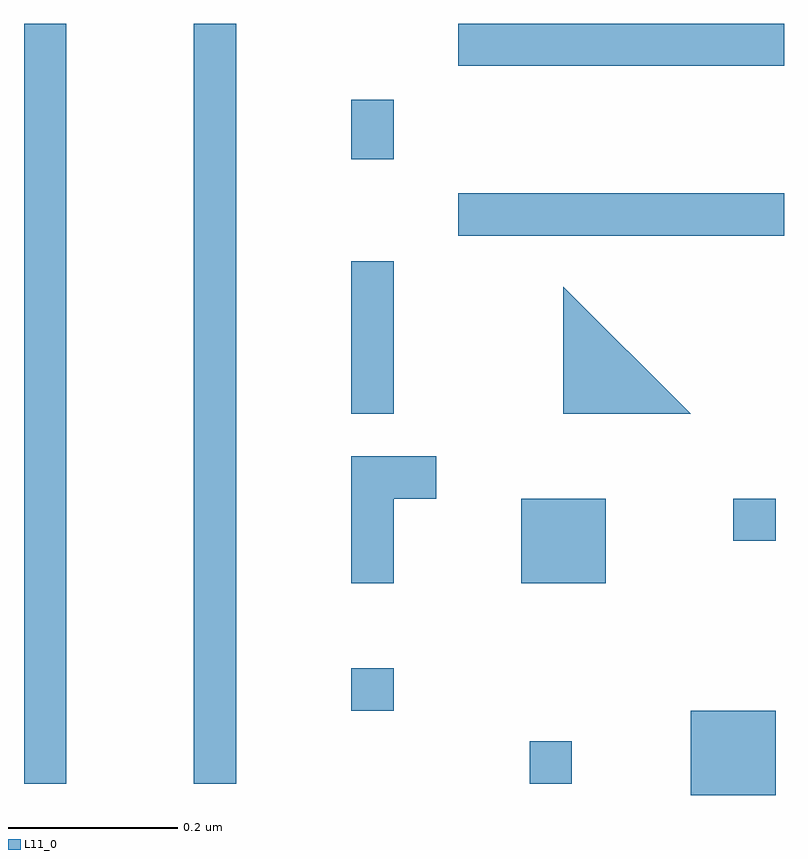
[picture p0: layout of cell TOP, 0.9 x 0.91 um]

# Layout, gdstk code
import gdstk
lib = gdstk.Library(unit=1e-6, precision=1e-09)
def R(c, l, rs):  # rectangles x0, y0, x1, y1
    for r in rs: c.add(gdstk.rectangle(r[:2], r[2:], *l))
def P(c, l, *ps):  # polygons
    for p in ps: c.add(gdstk.Polygon(p, *l))
L11_0 = (11, 0)

top = lib.new_cell('TOP')
R(top, L11_0, [(0.85,0.05,0.95,0.15), (0.85,0.05,0.95,0.15), (0.064,0.064,0.114,0.96), (0.264,0.064,0.314,0.96), (0.66,0.064,0.71,0.114), (0.45,0.15,0.5,0.2), (0.65,0.3,0.75,0.4), (0.9,0.35,0.95,0.4), (0.45,0.5,0.5,0.68), (0.576,0.71,0.96,0.76), (0.45,0.8,0.5,0.87), (0.576,0.91,0.96,0.96)])
P(top, L11_0, [(0.7,0.5),(0.7,0.65),(0.85,0.5)],
  [(0.45,0.3),(0.45,0.45),(0.55,0.45),(0.55,0.4),(0.5,0.4),(0.5,0.3)])

lib.write_gds('TOP.gds')
